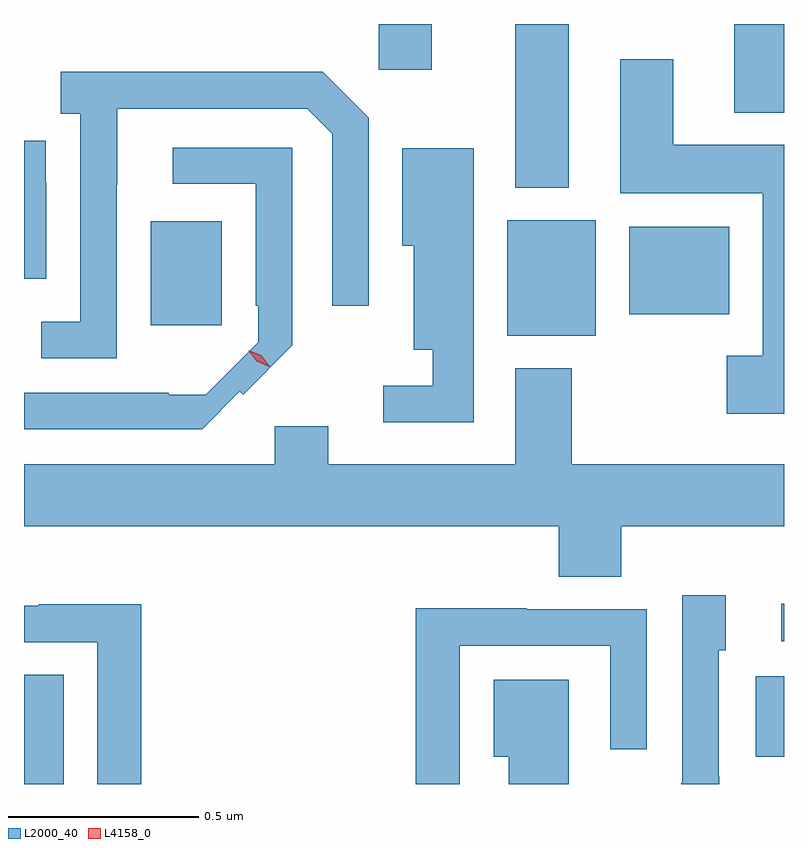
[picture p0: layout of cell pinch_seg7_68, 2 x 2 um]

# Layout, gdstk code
import gdstk
lib = gdstk.Library(unit=1e-6, precision=1e-09)
def R(c, l, rs):  # rectangles x0, y0, x1, y1
    for r in rs: c.add(gdstk.rectangle(r[:2], r[2:], *l))
def P(c, l, *ps):  # polygons
    for p in ps: c.add(gdstk.Polygon(p, *l))
L2000_40 = (2000, 40)
L4158_0 = (4158, 0)

pinch_seg7_68 = lib.new_cell('pinch_seg7_68')
R(pinch_seg7_68, L2000_40, [(969.278,1066.538,969.382,1066.826), (971.204,1066.61,971.278,1066.822), (971.271,1066.914,971.278,1067.012), (970.55,1067.717,970.783,1068.022), (969.611,1067.745,969.799,1068.019), (970.871,1067.774,971.134,1068.004), (970.571,1068.107,970.711,1068.538), (971.147,1068.305,971.278,1068.538), (970.212,1068.417,970.351,1068.538)])
P(pinch_seg7_68, L2000_40, [(971.278,1068.22),(970.987,1068.22),(970.987,1068.445),(970.847,1068.445),(970.847,1068.092),(971.222,1068.092),(971.222,1067.665),(971.127,1067.665),(971.127,1067.513),(971.278,1067.513)],
  [(969.522,1068.115),(969.523,1068.115),(969.523,1068.315),(970.023,1068.315),(970.089,1068.249),(970.089,1067.796),(970.185,1067.796),(970.185,1068.291),(970.064,1068.412),(969.375,1068.412),(969.375,1068.302),(969.426,1068.302),(969.426,1067.754),(969.324,1067.754),(969.324,1067.658),(969.522,1067.658)],
  [(969.336,1068.122),(969.335,1068.122),(969.335,1068.231),(969.278,1068.231),(969.278,1067.868),(969.336,1067.868)],
  [(969.846,1067.571),(969.855,1067.563),(969.984,1067.692),(969.984,1068.213),(969.669,1068.213),(969.669,1068.117),(969.888,1068.117),(969.888,1067.797),(969.894,1067.797),(969.894,1067.7),(969.756,1067.562),(969.659,1067.562),(969.659,1067.568),(969.278,1067.568),(969.278,1067.472),(969.747,1067.472)],
  [(970.461,1067.821),(970.462,1067.821),(970.462,1068.211),(970.274,1068.211),(970.274,1067.954),(970.304,1067.954),(970.304,1067.681),(970.353,1067.681),(970.353,1067.586),(970.224,1067.586),(970.224,1067.49),(970.461,1067.49)],
  [(970.85,1067.216),(971.278,1067.216),(971.278,1067.38),(970.719,1067.38),(970.719,1067.632),(970.571,1067.632),(970.571,1067.38),(970.078,1067.38),(970.078,1067.479),(969.938,1067.479),(969.938,1067.38),(969.278,1067.38),(969.278,1067.216),(970.685,1067.216),(970.685,1067.083),(970.85,1067.083)],
  [(971.107,1066.559),(971.106,1066.559),(971.106,1066.89),(971.125,1066.89),(971.125,1067.035),(971.01,1067.035),(971.01,1066.541),(971.008,1066.541),(971.008,1066.538),(971.107,1066.538)],
  [(969.587,1067.011),(969.317,1067.011),(969.317,1067.007),(969.278,1067.007),(969.278,1066.911),(969.471,1066.911),(969.471,1066.538),(969.587,1066.538)],
  [(970.425,1066.902),(970.821,1066.902),(970.821,1066.629),(970.917,1066.629),(970.917,1066.998),(970.601,1066.998),(970.601,1067),(970.309,1067),(970.309,1066.538),(970.425,1066.538)],
  [(970.711,1066.813),(970.514,1066.813),(970.514,1066.61),(970.553,1066.61),(970.553,1066.538),(970.711,1066.538)])
P(pinch_seg7_68, L4158_0, [(969.924,1067.636),(969.89,1067.65),(969.868,1067.68),(969.868,1067.68),(969.868,1067.68),(969.902,1067.666),(969.925,1067.636),(969.925,1067.636)])

lib.write_gds('pinch_seg7_68.gds')
